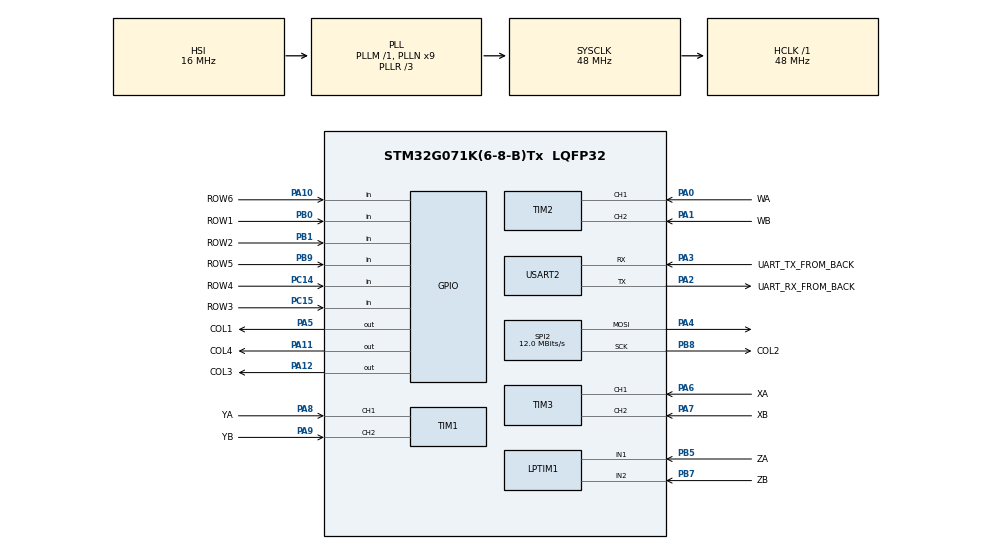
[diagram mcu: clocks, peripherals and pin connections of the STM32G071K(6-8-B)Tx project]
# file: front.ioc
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Dma.Request0=SPI2_TX
Dma.Request1=USART2_RX
Dma.Request2=USART2_TX
Dma.SPI2_TX.0.Direction=DMA_MEMORY_TO_PERIPH
Dma.SPI2_TX.0.EventEnable=DISABLE
Dma.SPI2_TX.0.Instance=DMA1_Channel1
Dma.SPI2_TX.0.MemDataAlignment=DMA_MDATAALIGN_BYTE
Dma.SPI2_TX.0.MemInc=DMA_MINC_ENABLE
Dma.SPI2_TX.0.Mode=DMA_NORMAL
Dma.SPI2_TX.0.PeriphDataAlignment=DMA_PDATAALIGN_BYTE
Dma.SPI2_TX.0.PeriphInc=DMA_PINC_DISABLE
Dma.SPI2_TX.0.Polarity=HAL_DMAMUX_REQ_GEN_RISING
Dma.SPI2_TX.0.Priority=DMA_PRIORITY_LOW
Dma.SPI2_TX.0.RequestNumber=1
Dma.SPI2_TX.0.SignalID=NONE
Dma.SPI2_TX.0.SyncEnable=DISABLE
Dma.SPI2_TX.0.SyncPolarity=HAL_DMAMUX_SYNC_NO_EVENT
Dma.SPI2_TX.0.SyncRequestNumber=1
Dma.SPI2_TX.0.SyncSignalID=NONE
Dma.USART2_RX.1.Direction=DMA_PERIPH_TO_MEMORY
Dma.USART2_RX.1.EventEnable=DISABLE
Dma.USART2_RX.1.Instance=DMA1_Channel2
Dma.USART2_RX.1.MemDataAlignment=DMA_MDATAALIGN_BYTE
Dma.USART2_RX.1.MemInc=DMA_MINC_ENABLE
Dma.USART2_RX.1.Mode=DMA_NORMAL
Dma.USART2_RX.1.PeriphDataAlignment=DMA_PDATAALIGN_BYTE
Dma.USART2_RX.1.PeriphInc=DMA_PINC_DISABLE
Dma.USART2_RX.1.Polarity=HAL_DMAMUX_REQ_GEN_RISING
Dma.USART2_RX.1.Priority=DMA_PRIORITY_LOW
Dma.USART2_RX.1.RequestNumber=1
Dma.USART2_RX.1.SignalID=NONE
Dma.USART2_RX.1.SyncEnable=DISABLE
Dma.USART2_RX.1.SyncPolarity=HAL_DMAMUX_SYNC_NO_EVENT
Dma.USART2_RX.1.SyncRequestNumber=1
Dma.USART2_RX.1.SyncSignalID=NONE
Dma.USART2_TX.2.Direction=DMA_MEMORY_TO_PERIPH
Dma.USART2_TX.2.EventEnable=DISABLE
Dma.USART2_TX.2.Instance=DMA1_Channel3
Dma.USART2_TX.2.MemDataAlignment=DMA_MDATAALIGN_BYTE
Dma.USART2_TX.2.MemInc=DMA_MINC_ENABLE
Dma.USART2_TX.2.Mode=DMA_NORMAL
Dma.USART2_TX.2.PeriphDataAlignment=DMA_PDATAALIGN_BYTE
Dma.USART2_TX.2.PeriphInc=DMA_PINC_DISABLE
Dma.USART2_TX.2.Polarity=HAL_DMAMUX_REQ_GEN_RISING
Dma.USART2_TX.2.Priority=DMA_PRIORITY_LOW
Dma.USART2_TX.2.RequestNumber=1
Dma.USART2_TX.2.SignalID=NONE
Dma.USART2_TX.2.SyncEnable=DISABLE
Dma.USART2_TX.2.SyncPolarity=HAL_DMAMUX_SYNC_NO_EVENT
Dma.USART2_TX.2.SyncRequestNumber=1
Dma.USART2_TX.2.SyncSignalID=NONE
Mcu.Family=STM32G0
Mcu.Name=STM32G071K(6-8-B)Tx
Mcu.Package=LQFP32
NVIC.DMA1_Channel1_IRQn=true\:0\:0\:false\:false\:true\:false\:true\:true
NVIC.DMA1_Channel2_3_IRQn=true\:0\:0\:false\:false\:true\:false\:true\:true
NVIC.USART2_IRQn=true\:0\:0\:false\:false\:true\:true\:true\:true
PA0.GPIO_Label=WA
PA0.GPIO_ModeDefaultPP=GPIO_MODE_AF_PP
PA0.GPIO_PuPd=GPIO_PULLUP
PA0.Signal=S_TIM2_CH1_ETR
PA1.GPIO_Label=WB
PA1.GPIO_PuPd=GPIO_PULLUP
PA1.Signal=S_TIM2_CH2
PA10.GPIO_Label=ROW6
PA10.Signal=GPIO_Input
PA11\ [PA9].GPIO_Label=COL4
PA11\ [PA9].Signal=GPIO_Output
PA12\ [PA10].GPIO_Label=COL3
PA12\ [PA10].Signal=GPIO_Output
PA13.Mode=Serial_Wire
PA13.Signal=SYS_SWDIO
PA14-BOOT0.Mode=Serial_Wire
PA14-BOOT0.Signal=SYS_SWCLK
PA2.GPIO_Label=UART_RX_FROM_BACK
PA2.Mode=Asynchronous
PA2.Signal=USART2_TX
PA3.GPIO_Label=UART_TX_FROM_BACK
PA3.Mode=Asynchronous
PA3.Signal=USART2_RX
PA4.Mode=TX_Only_Simplex_Unidirect_Master
PA4.Signal=SPI2_MOSI
PA5.GPIO_Label=COL1
PA5.Signal=GPIO_Output
PA6.GPIO_Label=XA
PA6.GPIO_PuPd=GPIO_PULLUP
PA6.Signal=S_TIM3_CH1
PA7.GPIO_Label=XB
PA7.GPIO_PuPd=GPIO_PULLUP
PA7.Signal=S_TIM3_CH2
PA8.GPIO_Label=YA
PA8.GPIO_PuPd=GPIO_PULLUP
PA8.Signal=S_TIM1_CH1
PA9.GPIO_Label=YB
PA9.GPIO_PuPd=GPIO_PULLUP
PA9.Signal=S_TIM1_CH2
PB0.GPIO_Label=ROW1
PB0.GPIO_PuPd=GPIO_PULLDOWN
PB0.Signal=GPIO_Input
PB1.GPIO_Label=ROW2
PB1.GPIO_PuPd=GPIO_PULLDOWN
PB1.Signal=GPIO_Input
PB5.GPIO_Label=ZA
PB5.GPIO_PuPd=GPIO_PULLUP
PB5.Mode=Encoder_mode_occur1
PB5.Signal=LPTIM1_IN1
PB7.GPIO_Label=ZB
PB7.GPIO_PuPd=GPIO_PULLUP
PB7.Mode=Encoder_mode_occur1
PB7.Signal=LPTIM1_IN2
PB8.GPIO_Label=COL2
PB8.Mode=TX_Only_Simplex_Unidirect_Master
PB8.Signal=SPI2_SCK
PB9.GPIO_Label=ROW5
PB9.GPIO_PuPd=GPIO_PULLDOWN
PB9.Signal=GPIO_Input
PC14-OSC32_IN\ (PC14).GPIO_Label=ROW4
PC14-OSC32_IN\ (PC14).GPIO_PuPd=GPIO_PULLDOWN
PC14-OSC32_IN\ (PC14).Signal=GPIO_Input
PC15-OSC32_OUT\ (PC15).GPIO_Label=ROW3
PC15-OSC32_OUT\ (PC15).GPIO_PuPd=GPIO_PULLDOWN
PC15-OSC32_OUT\ (PC15).Signal=GPIO_Input
ProjectManager.HeapSize=0x200
ProjectManager.StackSize=0x400
ProjectManager.TargetToolchain=CMake
RCC.ADCFreq_Value=48000000
RCC.AHBFreq_Value=48000000
RCC.CortexFreq_Value=48000000
RCC.EXTERNAL_CLOCK_VALUE=48000
RCC.HCLKFreq_Value=48000000
RCC.HSE_VALUE=8000000
RCC.HSI_VALUE=16000000
RCC.LSE_VALUE=32768
RCC.PLLN=9
RCC.PLLR=RCC_PLLR_DIV3
RCC.SYSCLKFreq_VALUE=48000000
RCC.SYSCLKSource=RCC_SYSCLKSOURCE_PLLCLK
RCC.VCOOutputFreq_Value=144000000
SH.S_TIM1_CH1.0=TIM1_CH1,Encoder_Interface
SH.S_TIM1_CH2.0=TIM1_CH2,Encoder_Interface
SH.S_TIM2_CH1_ETR.0=TIM2_CH1,Encoder_Interface
SH.S_TIM2_CH2.0=TIM2_CH2,Encoder_Interface
SH.S_TIM3_CH1.0=TIM3_CH1,Encoder_Interface
SH.S_TIM3_CH2.0=TIM3_CH2,Encoder_Interface
SPI2.BaudRatePrescaler=SPI_BAUDRATEPRESCALER_4
SPI2.CalculateBaudRate=12.0 MBits/s
SPI2.DataSize=SPI_DATASIZE_8BIT
SPI2.Direction=SPI_DIRECTION_2LINES
SPI2.Mode=SPI_MODE_MASTER
SPI2.VirtualType=VM_MASTER
TIM1.EncoderMode=TIM_ENCODERMODE_TI12
TIM2.EncoderMode=TIM_ENCODERMODE_TI12
TIM3.EncoderMode=TIM_ENCODERMODE_TI12
USART2.SwapParam=ADVFEATURE_SWAP_ENABLE
USART2.VirtualMode-Asynchronous=VM_ASYNC
board=custom

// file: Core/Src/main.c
/* USER CODE BEGIN Header */
/**
 ******************************************************************************
 * @file           : main.c
 * @brief          : Main program body
 ******************************************************************************
 * @attention
 *
 * Copyright (c) 2026 STMicroelectronics.
 * All rights reserved.
 *
 * This software is licensed under terms that can be found in the LICENSE file
 * in the root directory of this software component.
 * If no LICENSE file comes with this software, it is provided AS-IS.
 *
 ******************************************************************************
 */
/* USER CODE END Header */
#include "main.h"
#include "dma.h"
#include "lptim.h"
#include "spi.h"
#include "tim.h"
#include "usart.h"
#include "gpio.h"

/* USER CODE BEGIN Includes */
#include "Encoders.h"
#include "KeyMatrix.h"
#include "Neopixels.h"
/* USER CODE END Includes */

/* USER CODE BEGIN PV */
uint8_t rx_data;
/* USER CODE END PV */

void SystemClock_Config(void);
/* USER CODE BEGIN PFP */
static void MY_GPIO_Init(void);
/* USER CODE END PFP */

/* USER CODE BEGIN 0 */

/**
 * Output LED Data vie DMI
 * @param hspi SPI Handle, should be set to 5MHz, Data Size 8Bit, CPHA = 1 ("2 Edge" in CubeMX)
 */

/**
 * Create RGB color from HSV values.
 * All values in range 0-1
 * @param h Hue (Range: 0-1)
 * @param s Saturation (Range: 0-1)
 * @param v Value (Range: 0-1)
 */

void HAL_UART_RxCpltCallback(UART_HandleTypeDef *huart)
{
	if (USART2 == huart->Instance)
	{
		int key = rx_data & UART_KEY_MASK;
		int led = led_lut[key];

		if (rx_data & UART_KEY_PRESSED)
		{
			if (led != -1)
			{
				uint16_t enc[4];
				enc[0] = __HAL_TIM_GET_COUNTER(&htim2);
				enc[1] = __HAL_TIM_GET_COUNTER(&htim3);
				enc[2] = __HAL_TIM_GET_COUNTER(&htim1);
				enc[3] = HAL_LPTIM_ReadCounter(&hlptim1);

				uint8_t r, g, b;
				hsv_to_rgb_u8(enc[key % 4] % MAX_HUE, DEFAULT_SAT, DEFAULT_VAL, &r, &g, &b);
				ledBuffer[led] = (Color) { .R = r, .G = g, .B = b };
				show(&hspi2);
			}
		}
		else	/* KEY RELEASED */
		{
			if (led != -1)
			{
				ledBuffer[led] = (Color) { .R = 0, .G = 0, .B = 0 };
				show(&hspi2);
			}
		}

		HAL_UART_Receive_IT(&huart2, &rx_data, 1);
	}
}

/* USER CODE END 0 */

int main(void)
{

  /* MCU Configuration--------------------------------------------------------*/

  /* Reset of all peripherals, Initializes the Flash interface and the Systick. */
  HAL_Init();

  /* Configure the system clock */
  SystemClock_Config();

  /* Initialize all configured peripherals */
  MY_GPIO_Init();
  MX_DMA_Init();
  MX_LPTIM1_Init();
  MX_TIM1_Init();
  MX_TIM2_Init();
  MX_TIM3_Init();
  MX_USART2_UART_Init();
  MX_SPI2_Init();
  /* USER CODE BEGIN 2 */

	HAL_Delay(500);

	/* QUICK LED CHASER */
	for (int i = 0 ; i < LED_COUNT ; i++)
	{
		ledBuffer[i] = (Color) {.R=255, .G=0, .B=0};
		show(&hspi2);
		HAL_Delay(20);
	}
	for (int i = 0 ; i < LED_COUNT; i++) {
		ledBuffer[i] = (Color) { .R = 0, .G = 0, .B = 0 };
	}
	show(&hspi2);

	/* START ENCODERS */
	HAL_TIM_Encoder_Start(&htim1, TIM_CHANNEL_1|TIM_CHANNEL_2);
	HAL_TIM_Encoder_Start(&htim2, TIM_CHANNEL_1|TIM_CHANNEL_2);
	HAL_TIM_Encoder_Start(&htim3, TIM_CHANNEL_1|TIM_CHANNEL_2);
	HAL_LPTIM_Encoder_Start(&hlptim1, 0xFFFF);

	/* START UART RX INTERRUPT */
	HAL_UART_Receive_IT(&huart2, &rx_data, 1);

  /* USER CODE END 2 */

  /* Infinite loop */
  /* USER CODE BEGIN WHILE */
	while (1)
	{
		/* KEYBOARD */
		matrix_process();
		HAL_Delay(1);

		uint8_t data = 0xAA;

//		HAL_UART_Transmit(&huart2, &data, 1, HAL_MAX_DELAY);

    /* USER CODE END WHILE */

	}
}

void SystemClock_Config(void)
{
  RCC_OscInitTypeDef RCC_OscInitStruct = {0};
  RCC_ClkInitTypeDef RCC_ClkInitStruct = {0};

  /** Configure the main internal regulator output voltage
  */
  HAL_PWREx_ControlVoltageScaling(PWR_REGULATOR_VOLTAGE_SCALE1);

  /** Initializes the RCC Oscillators according to the specified parameters
  * in the RCC_OscInitTypeDef structure.
  */
  RCC_OscInitStruct.OscillatorType = RCC_OSCILLATORTYPE_HSI;
  RCC_OscInitStruct.HSIState = RCC_HSI_ON;
  RCC_OscInitStruct.HSIDiv = RCC_HSI_DIV1;
  RCC_OscInitStruct.HSICalibrationValue = RCC_HSICALIBRATION_DEFAULT;
  RCC_OscInitStruct.PLL.PLLState = RCC_PLL_ON;
  RCC_OscInitStruct.PLL.PLLSource = RCC_PLLSOURCE_HSI;
  RCC_OscInitStruct.PLL.PLLM = RCC_PLLM_DIV1;
  RCC_OscInitStruct.PLL.PLLN = 9;
  RCC_OscInitStruct.PLL.PLLP = RCC_PLLP_DIV2;
  RCC_OscInitStruct.PLL.PLLQ = RCC_PLLQ_DIV2;
  RCC_OscInitStruct.PLL.PLLR = RCC_PLLR_DIV3;
  if (HAL_RCC_OscConfig(&RCC_OscInitStruct) != HAL_OK)
  {
    Error_Handler();
  }

  /** Initializes the CPU, AHB and APB buses clocks
  */
  RCC_ClkInitStruct.ClockType = RCC_CLOCKTYPE_HCLK|RCC_CLOCKTYPE_SYSCLK
                              |RCC_CLOCKTYPE_PCLK1;
  RCC_ClkInitStruct.SYSCLKSource = RCC_SYSCLKSOURCE_PLLCLK;
  RCC_ClkInitStruct.AHBCLKDivider = RCC_SYSCLK_DIV1;
  RCC_ClkInitStruct.APB1CLKDivider = RCC_HCLK_DIV1;

  if (HAL_RCC_ClockConfig(&RCC_ClkInitStruct, FLASH_LATENCY_1) != HAL_OK)
  {
    Error_Handler();
  }
}

/* USER CODE BEGIN 4 */
static void MY_GPIO_Init(void)
{
	GPIO_InitTypeDef GPIO_InitStruct = {0};
	/* USER CODE BEGIN MX_GPIO_Init_1 */

	/* USER CODE END MX_GPIO_Init_1 */

	/* GPIO Ports Clock Enable */
	__HAL_RCC_GPIOB_CLK_ENABLE();
	__HAL_RCC_GPIOC_CLK_ENABLE();
	__HAL_RCC_GPIOA_CLK_ENABLE();

	/*Configure GPIO pin Output Level */
	HAL_GPIO_WritePin(GPIOA, COL1_Pin|COL4_Pin|COL3_Pin, GPIO_PIN_RESET);

	/*Configure GPIO pin Output Level */
	HAL_GPIO_WritePin(COL2_GPIO_Port, COL2_Pin, GPIO_PIN_RESET);

	/*Configure GPIO pins : ROW5_Pin ROW1_Pin ROW2_Pin */
	GPIO_InitStruct.Pin = ROW5_Pin|ROW1_Pin|ROW2_Pin;
	GPIO_InitStruct.Mode = GPIO_MODE_INPUT;
	GPIO_InitStruct.Pull = GPIO_PULLDOWN;
	HAL_GPIO_Init(GPIOB, &GPIO_InitStruct);

	/*Configure GPIO pins : ROW4_Pin ROW3_Pin */
	GPIO_InitStruct.Pin = ROW4_Pin|ROW3_Pin;
	GPIO_InitStruct.Mode = GPIO_MODE_INPUT;
	GPIO_InitStruct.Pull = GPIO_PULLDOWN;
	HAL_GPIO_Init(GPIOC, &GPIO_InitStruct);

	/*Configure GPIO pin : PA4 */
	GPIO_InitStruct.Pin = GPIO_PIN_4;
	GPIO_InitStruct.Mode = GPIO_MODE_AF_PP;
	GPIO_InitStruct.Pull = GPIO_NOPULL;
	GPIO_InitStruct.Speed = GPIO_SPEED_FREQ_LOW;
	GPIO_InitStruct.Alternate = GPIO_AF1_SPI2;
	HAL_GPIO_Init(GPIOA, &GPIO_InitStruct);

	/*Configure GPIO pins : COL1_Pin COL4_Pin COL3_Pin */
	GPIO_InitStruct.Pin = COL1_Pin|COL4_Pin|COL3_Pin;
	GPIO_InitStruct.Mode = GPIO_MODE_OUTPUT_PP;
	GPIO_InitStruct.Pull = GPIO_NOPULL;
	GPIO_InitStruct.Speed = GPIO_SPEED_FREQ_LOW;
	HAL_GPIO_Init(GPIOA, &GPIO_InitStruct);

	/*Configure GPIO pin : ROW6_Pin */
	GPIO_InitStruct.Pin = ROW6_Pin;
	GPIO_InitStruct.Mode = GPIO_MODE_INPUT;
	GPIO_InitStruct.Pull = GPIO_PULLDOWN;
	HAL_GPIO_Init(ROW6_GPIO_Port, &GPIO_InitStruct);

	/*Configure GPIO pin : COL2_Pin */
	GPIO_InitStruct.Pin = COL2_Pin;
	GPIO_InitStruct.Mode = GPIO_MODE_OUTPUT_PP;
	GPIO_InitStruct.Pull = GPIO_NOPULL;
	GPIO_InitStruct.Speed = GPIO_SPEED_FREQ_LOW;
	HAL_GPIO_Init(COL2_GPIO_Port, &GPIO_InitStruct);

	/* USER CODE BEGIN MX_GPIO_Init_2 */

	/* USER CODE END MX_GPIO_Init_2 */
}
/* USER CODE END 4 */

void Error_Handler(void)
{
	__disable_irq();
	while (1)
	{
	}
}
